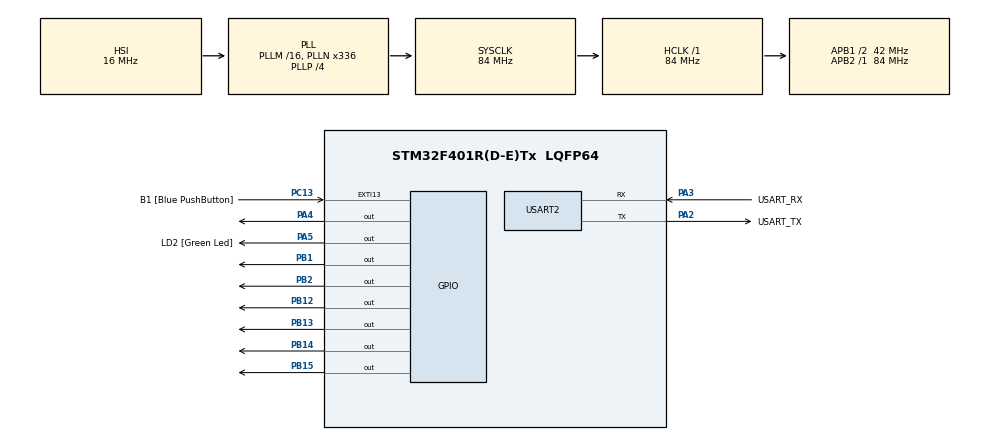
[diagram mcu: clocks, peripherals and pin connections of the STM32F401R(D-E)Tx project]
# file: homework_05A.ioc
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Mcu.Family=STM32F4
Mcu.Name=STM32F401R(D-E)Tx
Mcu.Package=LQFP64
NVIC.PriorityGroup=NVIC_PRIORITYGROUP_4
NVIC.TIM2_IRQn=true\:0\:0\:false\:false\:true\:true\:true\:true
PA13.GPIO_Label=TMS
PA13.Mode=Trace_Asynchronous_SW
PA13.Signal=SYS_JTMS-SWDIO
PA14.GPIO_Label=TCK
PA14.Mode=Trace_Asynchronous_SW
PA14.Signal=SYS_JTCK-SWCLK
PA2.GPIO_Label=USART_TX
PA2.GPIO_Mode=GPIO_MODE_AF_PP
PA2.GPIO_PuPd=GPIO_NOPULL
PA2.GPIO_Speed=GPIO_SPEED_FREQ_LOW
PA2.Mode=Asynchronous
PA2.Signal=USART2_TX
PA3.GPIO_Label=USART_RX
PA3.GPIO_Mode=GPIO_MODE_AF_PP
PA3.GPIO_PuPd=GPIO_NOPULL
PA3.GPIO_Speed=GPIO_SPEED_FREQ_LOW
PA3.Mode=Asynchronous
PA3.Signal=USART2_RX
PA4.Signal=GPIO_Output
PA5.GPIO_Label=LD2 [Green Led]
PA5.GPIO_Mode=GPIO_MODE_OUTPUT_PP
PA5.GPIO_PuPd=GPIO_NOPULL
PA5.GPIO_Speed=GPIO_SPEED_FREQ_LOW
PA5.Signal=GPIO_Output
PB1.Signal=GPIO_Output
PB12.Signal=GPIO_Output
PB13.Signal=GPIO_Output
PB14.Signal=GPIO_Output
PB15.Signal=GPIO_Output
PB2.Signal=GPIO_Output
PB3.GPIO_Label=SWO
PB3.Mode=Trace_Asynchronous_SW
PB3.Signal=SYS_JTDO-SWO
PC13-ANTI_TAMP.GPIO_Label=B1 [Blue PushButton]
PC13-ANTI_TAMP.GPIO_ModeDefaultEXTI=GPIO_MODE_IT_FALLING
PC13-ANTI_TAMP.GPIO_PuPd=GPIO_NOPULL
PC13-ANTI_TAMP.Signal=GPXTI13
PC14-OSC32_IN.Mode=LSE-External-Oscillator
PC14-OSC32_IN.Signal=RCC_OSC32_IN
PC15-OSC32_OUT.Mode=LSE-External-Oscillator
PC15-OSC32_OUT.Signal=RCC_OSC32_OUT
PH0\ -\ OSC_IN.Mode=HSE-External-Clock-Source
PH0\ -\ OSC_IN.Signal=RCC_OSC_IN
PH1\ -\ OSC_OUT.Mode=HSE-External-Clock-Source
PH1\ -\ OSC_OUT.Signal=RCC_OSC_OUT
ProjectManager.HeapSize=0x200
ProjectManager.StackSize=0x400
ProjectManager.TargetToolchain=CMake
RCC.48MHZClocksFreq_Value=48000000
RCC.AHBFreq_Value=84000000
RCC.APB1CLKDivider=RCC_HCLK_DIV2
RCC.APB1Freq_Value=42000000
RCC.APB1TimFreq_Value=84000000
RCC.APB2Freq_Value=84000000
RCC.APB2TimFreq_Value=84000000
RCC.CortexFreq_Value=84000000
RCC.HCLKFreq_Value=84000000
RCC.HSE_VALUE=8000000
RCC.HSI_VALUE=16000000
RCC.PLLN=336
RCC.PLLP=RCC_PLLP_DIV4
RCC.PLLQ=7
RCC.SYSCLKFreq_VALUE=84000000
RCC.SYSCLKSource=RCC_SYSCLKSOURCE_PLLCLK
RCC.VCOOutputFreq_Value=336000000
TIM2.Period=1000-1
TIM2.Prescaler=84-1
USART2.VirtualMode=VM_ASYNC
VP_TIM2_VS_ClockSourceINT.Mode=Internal
board=NUCLEO-F401RE

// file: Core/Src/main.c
/* USER CODE BEGIN Header */
/**
  ******************************************************************************
  * @file           : main.c
  * @brief          : Main program body
  ******************************************************************************
  * @attention
  *
  * Copyright (c) 2026 STMicroelectronics.
  * All rights reserved.
  *
  * This software is licensed under terms that can be found in the LICENSE file
  * in the root directory of this software component.
  * If no LICENSE file comes with this software, it is provided AS-IS.
  *
  ******************************************************************************
  */
/* USER CODE END Header */
#include "main.h"

/* USER CODE BEGIN Includes */
#include <complex.h>
#include <string.h>
#include <stdio.h>
#include <ctype.h>
#include <stdbool.h>
#include "PMDB16_LCD.h"
/* USER CODE END Includes */

/* USER CODE BEGIN PTD */
typedef struct {
  char name[16];
} Person;
/* USER CODE END PTD */

TIM_HandleTypeDef htim2;

UART_HandleTypeDef huart2;

/* USER CODE BEGIN PV */
Person people[] = {
  {"martoRano g."},
  {"lorussO L."},
  {"carBone a."},
  {"Colombi F."},
  {"casAReale a."}
};
#define NUM_PEOPLE (sizeof(people) / sizeof(people[0]))
/* USER CODE END PV */

void SystemClock_Config(void);
static void MX_GPIO_Init(void);
static void MX_TIM2_Init(void);
static void MX_USART2_UART_Init(void);

/* USER CODE BEGIN 0 */
void alphabeticOrder () {
  for (int i = 0; i < NUM_PEOPLE - 1; i++) {
    for (int j = 0; j < NUM_PEOPLE - i - 1; j++) {
      if (strcmp(people[j].name, people[j + 1].name) > 0) {
        Person temp = people[j];
        people[j] = people[j + 1];
        people[j + 1] = temp;
      }
    }
  }
}

void firstLetterToUpperCase () {
  for (int i = 0; i < NUM_PEOPLE; i++) {
    int next = 1;
    for (int j = 0; people[i].name[j] != '\0'; j++) {
      if (people[i].name[j] == ' ') {
        next = 1;
      } else if (next) {
        people[i].name[j] = (char)toupper((unsigned char)people[i].name[j]);
        next = 0;
      } else {
        people[i].name[j] = (char)tolower((unsigned char)people[i].name[j]);
      }
    }
  }
}
/* USER CODE END 0 */

int main(void)
{

  /* MCU Configuration--------------------------------------------------------*/

  /* Reset of all peripherals, Initializes the Flash interface and the Systick. */
  HAL_Init();

  /* Configure the system clock */
  SystemClock_Config();

  /* Initialize all configured peripherals */
  MX_GPIO_Init();
  MX_TIM2_Init();
  MX_USART2_UART_Init();
  /* USER CODE BEGIN 2 */
  firstLetterToUpperCase();
  alphabeticOrder();
  HAL_TIM_Base_Start_IT(&htim2);
  lcd_initialize();
  lcd_backlight_ON();
  lcd_clear();
  /* USER CODE END 2 */

  /* Infinite loop */
  while (1)
  {

  }
}

void SystemClock_Config(void)
{
  RCC_OscInitTypeDef RCC_OscInitStruct = {0};
  RCC_ClkInitTypeDef RCC_ClkInitStruct = {0};

  /** Configure the main internal regulator output voltage
  */
  __HAL_RCC_PWR_CLK_ENABLE();
  __HAL_PWR_VOLTAGESCALING_CONFIG(PWR_REGULATOR_VOLTAGE_SCALE2);

  /** Initializes the RCC Oscillators according to the specified parameters
  * in the RCC_OscInitTypeDef structure.
  */
  RCC_OscInitStruct.OscillatorType = RCC_OSCILLATORTYPE_HSI;
  RCC_OscInitStruct.HSIState = RCC_HSI_ON;
  RCC_OscInitStruct.HSICalibrationValue = RCC_HSICALIBRATION_DEFAULT;
  RCC_OscInitStruct.PLL.PLLState = RCC_PLL_ON;
  RCC_OscInitStruct.PLL.PLLSource = RCC_PLLSOURCE_HSI;
  RCC_OscInitStruct.PLL.PLLM = 16;
  RCC_OscInitStruct.PLL.PLLN = 336;
  RCC_OscInitStruct.PLL.PLLP = RCC_PLLP_DIV4;
  RCC_OscInitStruct.PLL.PLLQ = 7;
  if (HAL_RCC_OscConfig(&RCC_OscInitStruct) != HAL_OK)
  {
    Error_Handler();
  }

  /** Initializes the CPU, AHB and APB buses clocks
  */
  RCC_ClkInitStruct.ClockType = RCC_CLOCKTYPE_HCLK|RCC_CLOCKTYPE_SYSCLK
                              |RCC_CLOCKTYPE_PCLK1|RCC_CLOCKTYPE_PCLK2;
  RCC_ClkInitStruct.SYSCLKSource = RCC_SYSCLKSOURCE_PLLCLK;
  RCC_ClkInitStruct.AHBCLKDivider = RCC_SYSCLK_DIV1;
  RCC_ClkInitStruct.APB1CLKDivider = RCC_HCLK_DIV2;
  RCC_ClkInitStruct.APB2CLKDivider = RCC_HCLK_DIV1;

  if (HAL_RCC_ClockConfig(&RCC_ClkInitStruct, FLASH_LATENCY_2) != HAL_OK)
  {
    Error_Handler();
  }
}

static void MX_TIM2_Init(void)
{

  TIM_ClockConfigTypeDef sClockSourceConfig = {0};
  TIM_MasterConfigTypeDef sMasterConfig = {0};

  htim2.Instance = TIM2;
  htim2.Init.Prescaler = 84-1;
  htim2.Init.CounterMode = TIM_COUNTERMODE_UP;
  htim2.Init.Period = 1000-1;
  htim2.Init.ClockDivision = TIM_CLOCKDIVISION_DIV1;
  htim2.Init.AutoReloadPreload = TIM_AUTORELOAD_PRELOAD_DISABLE;
  if (HAL_TIM_Base_Init(&htim2) != HAL_OK)
  {
    Error_Handler();
  }
  sClockSourceConfig.ClockSource = TIM_CLOCKSOURCE_INTERNAL;
  if (HAL_TIM_ConfigClockSource(&htim2, &sClockSourceConfig) != HAL_OK)
  {
    Error_Handler();
  }
  sMasterConfig.MasterOutputTrigger = TIM_TRGO_RESET;
  sMasterConfig.MasterSlaveMode = TIM_MASTERSLAVEMODE_DISABLE;
  if (HAL_TIMEx_MasterConfigSynchronization(&htim2, &sMasterConfig) != HAL_OK)
  {
    Error_Handler();
  }

}

static void MX_USART2_UART_Init(void)
{

  huart2.Instance = USART2;
  huart2.Init.BaudRate = 115200;
  huart2.Init.WordLength = UART_WORDLENGTH_8B;
  huart2.Init.StopBits = UART_STOPBITS_1;
  huart2.Init.Parity = UART_PARITY_NONE;
  huart2.Init.Mode = UART_MODE_TX_RX;
  huart2.Init.HwFlowCtl = UART_HWCONTROL_NONE;
  huart2.Init.OverSampling = UART_OVERSAMPLING_16;
  if (HAL_UART_Init(&huart2) != HAL_OK)
  {
    Error_Handler();
  }

}

static void MX_GPIO_Init(void)
{
  GPIO_InitTypeDef GPIO_InitStruct = {0};

  /* GPIO Ports Clock Enable */
  __HAL_RCC_GPIOC_CLK_ENABLE();
  __HAL_RCC_GPIOH_CLK_ENABLE();
  __HAL_RCC_GPIOA_CLK_ENABLE();
  __HAL_RCC_GPIOB_CLK_ENABLE();

  /*Configure GPIO pin Output Level */
  HAL_GPIO_WritePin(GPIOA, GPIO_PIN_4|LD2_Pin, GPIO_PIN_RESET);

  /*Configure GPIO pin Output Level */
  HAL_GPIO_WritePin(GPIOB, GPIO_PIN_1|GPIO_PIN_2|GPIO_PIN_12|GPIO_PIN_13
                          |GPIO_PIN_14|GPIO_PIN_15, GPIO_PIN_RESET);

  /*Configure GPIO pin : B1_Pin */
  GPIO_InitStruct.Pin = B1_Pin;
  GPIO_InitStruct.Mode = GPIO_MODE_IT_FALLING;
  GPIO_InitStruct.Pull = GPIO_NOPULL;
  HAL_GPIO_Init(B1_GPIO_Port, &GPIO_InitStruct);

  /*Configure GPIO pins : PA4 LD2_Pin */
  GPIO_InitStruct.Pin = GPIO_PIN_4|LD2_Pin;
  GPIO_InitStruct.Mode = GPIO_MODE_OUTPUT_PP;
  GPIO_InitStruct.Pull = GPIO_NOPULL;
  GPIO_InitStruct.Speed = GPIO_SPEED_FREQ_LOW;
  HAL_GPIO_Init(GPIOA, &GPIO_InitStruct);

  /*Configure GPIO pins : PB1 PB2 PB12 PB13
                           PB14 PB15 */
  GPIO_InitStruct.Pin = GPIO_PIN_1|GPIO_PIN_2|GPIO_PIN_12|GPIO_PIN_13
                          |GPIO_PIN_14|GPIO_PIN_15;
  GPIO_InitStruct.Mode = GPIO_MODE_OUTPUT_PP;
  GPIO_InitStruct.Pull = GPIO_NOPULL;
  GPIO_InitStruct.Speed = GPIO_SPEED_FREQ_LOW;
  HAL_GPIO_Init(GPIOB, &GPIO_InitStruct);

}

/* USER CODE BEGIN 4 */
void HAL_TIM_PeriodElapsedCallback(TIM_HandleTypeDef *htim){
  int i = 0;
  int timer = 0;
  int first = true;
  if (htim == &htim2){
    timer++;
    if (timer == 1000) {
      if (first){
        lcd_println(people[i].name, 0);
        first = false;
      } else {
        lcd_println(people[i].name, 0);
        if(i == NUM_PEOPLE - 1) {
          i = 0;
        } else {
          i++;
        }
        lcd_println(people[i].name, 1);
      }
      timer = 0;
    }
  }
}
/* USER CODE END 4 */

void Error_Handler(void)
{
  __disable_irq();
  while (1)
  {
  }
}
